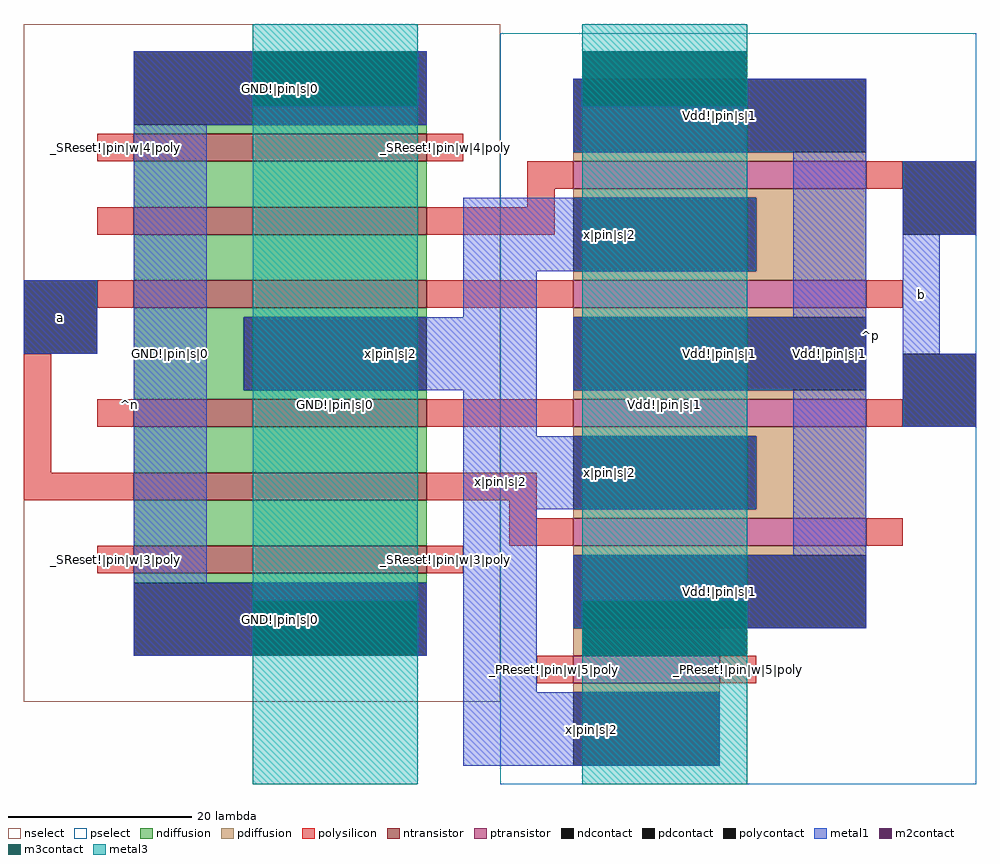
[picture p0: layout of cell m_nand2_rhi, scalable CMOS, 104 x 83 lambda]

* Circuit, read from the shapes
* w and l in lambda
.subckt m_nand2_rhi GND!|pin|s|0 Vdd!|pin|s|1 _PReset!|pin|w|5|poly _SReset!|pin|w|3|poly _SReset!|pin|w|4|poly a b x|pin|s|2
M1 n1 _SReset!|pin|w|3|poly GND!|pin|s|0 VSUBS nfet w=32 l=3
M2 n2 a n1 VSUBS nfet w=32 l=3
M3 x|pin|s|2 b n2 VSUBS nfet w=32 l=3
M4 n3 a x|pin|s|2 VSUBS nfet w=32 l=3
M5 n4 b n3 VSUBS nfet w=32 l=3
M6 GND!|pin|s|0 _SReset!|pin|w|4|poly n4 VSUBS nfet w=32 l=3
M7 Vdd!|pin|s|1 _PReset!|pin|w|5|poly x|pin|s|2 NWELL pfet w=16 l=3
M8 x|pin|s|2 a Vdd!|pin|s|1 NWELL pfet w=32 l=3 m=2
M9 Vdd!|pin|s|1 b x|pin|s|2 NWELL pfet w=32 l=3 m=2
.ends

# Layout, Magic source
magic
tech scmos
<< nselect >>
rect -52 13 0 87
<< pselect >>
rect 0 4 52 86
<< ndiffusion >>
rect -40 75 -8 76
rect -40 67 -8 72
rect -40 59 -8 64
rect -40 55 -8 56
rect -40 47 -28 55
rect -40 46 -8 47
rect -40 38 -8 43
rect -40 30 -8 35
rect -40 26 -8 27
<< pdiffusion >>
rect 8 72 40 73
rect 8 68 40 69
rect 28 60 40 68
rect 8 59 40 60
rect 8 55 40 56
rect 8 46 40 47
rect 8 42 40 43
rect 28 34 40 42
rect 8 33 40 34
rect 8 29 40 30
rect 8 18 24 21
rect 8 14 24 15
<< ntransistor >>
rect -40 72 -8 75
rect -40 64 -8 67
rect -40 56 -8 59
rect -40 43 -8 46
rect -40 35 -8 38
rect -40 27 -8 30
<< ptransistor >>
rect 8 69 40 72
rect 8 56 40 59
rect 8 43 40 46
rect 8 30 40 33
rect 8 15 24 18
<< polysilicon >>
rect -44 72 -40 75
rect -8 72 -4 75
rect 3 69 8 72
rect 40 69 44 72
rect 3 67 6 69
rect -44 64 -40 67
rect -8 64 6 67
rect -44 56 -40 59
rect -8 56 8 59
rect 40 56 44 59
rect -52 38 -49 51
rect -44 43 -40 46
rect -8 43 8 46
rect 40 43 44 46
rect -52 35 -40 38
rect -8 35 4 38
rect 1 33 4 35
rect 1 30 8 33
rect 40 30 44 33
rect -44 27 -40 30
rect -8 27 -4 30
rect 4 15 8 18
rect 24 15 28 18
<< ndcontact >>
rect -40 76 -8 84
rect -28 47 -8 55
rect -40 18 -8 26
<< pdcontact >>
rect 8 73 40 81
rect 8 60 28 68
rect 8 47 40 55
rect 8 34 28 42
rect 8 21 40 29
rect 8 6 24 14
<< polycontact >>
rect 44 64 52 72
rect -52 51 -44 59
rect 44 43 52 51
<< metal1 >>
rect -40 78 -27 84
rect -9 78 -8 84
rect -40 76 -8 78
rect 8 78 9 81
rect 27 78 40 81
rect -52 51 -44 59
rect -40 26 -32 76
rect 8 73 40 78
rect -4 60 28 68
rect -4 55 4 60
rect 32 55 40 73
rect -28 47 4 55
rect 8 47 40 55
rect -4 42 4 47
rect -4 34 28 42
rect -40 24 -8 26
rect -40 18 -27 24
rect -9 18 -8 24
rect -4 14 4 34
rect 32 29 40 47
rect 44 64 52 72
rect 44 51 48 64
rect 44 43 52 51
rect 8 24 40 29
rect 8 21 9 24
rect 27 21 40 24
rect -4 6 24 14
<< m2contact >>
rect -27 78 -9 84
rect 9 78 27 84
rect -27 18 -9 24
rect 9 18 27 24
<< m3contact >>
rect -27 78 -9 84
rect 9 78 27 84
rect -27 18 -9 24
rect 9 18 27 24
<< metal3 >>
rect -27 4 -9 87
rect 9 4 27 87
<< labels >>
rlabel metal1 -52 51 -44 59 3 a
rlabel metal1 44 43 48 72 1 b
rlabel space -53 4 -28 87 7 ^n
rlabel space 28 20 53 86 3 ^p
rlabel metal3 -27 4 -9 87 1 GND!|pin|s|0
rlabel metal1 -40 76 -8 84 1 GND!|pin|s|0
rlabel metal1 -40 18 -8 26 1 GND!|pin|s|0
rlabel metal1 -40 18 -32 84 1 GND!|pin|s|0
rlabel metal3 9 4 27 87 1 Vdd!|pin|s|1
rlabel metal1 8 73 40 81 1 Vdd!|pin|s|1
rlabel metal1 8 47 40 55 1 Vdd!|pin|s|1
rlabel metal1 8 21 40 29 1 Vdd!|pin|s|1
rlabel metal1 32 21 40 81 1 Vdd!|pin|s|1
rlabel metal1 -4 6 4 68 1 x|pin|s|2
rlabel metal1 -4 6 24 14 1 x|pin|s|2
rlabel metal1 -4 34 28 42 1 x|pin|s|2
rlabel metal1 -4 60 28 68 1 x|pin|s|2
rlabel metal1 -28 47 4 55 1 x|pin|s|2
rlabel polysilicon -44 27 -40 30 1 _SReset!|pin|w|3|poly
rlabel polysilicon -8 27 -4 30 1 _SReset!|pin|w|3|poly
rlabel polysilicon -44 72 -40 75 1 _SReset!|pin|w|4|poly
rlabel polysilicon -8 72 -4 75 1 _SReset!|pin|w|4|poly
rlabel polysilicon 4 15 8 18 1 _PReset!|pin|w|5|poly
rlabel polysilicon 24 15 28 18 1 _PReset!|pin|w|5|poly
<< end >>
